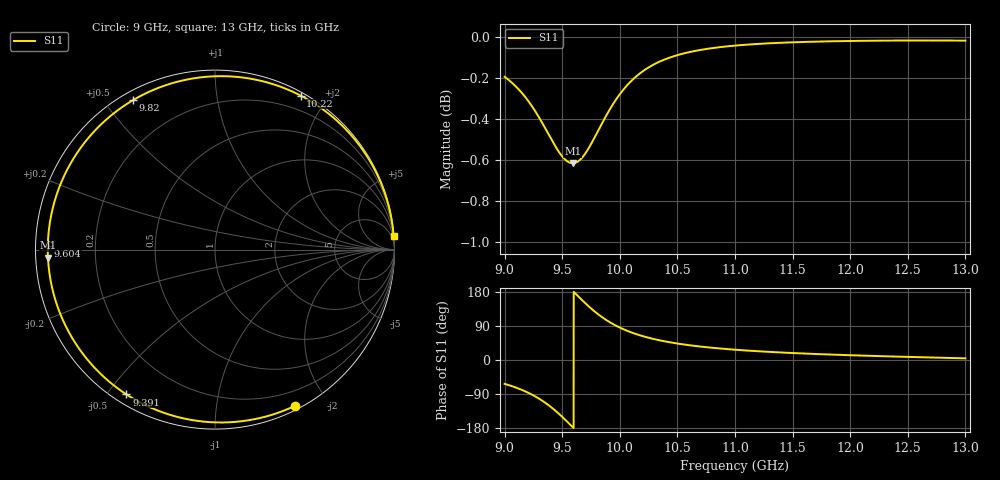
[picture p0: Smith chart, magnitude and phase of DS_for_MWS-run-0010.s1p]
! TOUCHSTONE file generated by CST DESIGN STUDIO
! Date and time: Tue Feb  4 14:13:32 2025
! Project name: C:\Work\MatlabApps\UnitCellOptimizationMatlab\CST\unitcell.cst
! Tree item: Tasks\Sweep1\SPara1\S-Parameters
! Header version: 2024
! Port assignment regex: !\s*Touchstone port\s*([0-9]+)\s*=\s*(CST MWS port|CST DES external port|CST DES block port)\s*(.+)\s* \(\"(.*)\"\)(\s*mode\s*([0-9]+))?.*
! Touchstone port assignment:
! Touchstone port 1 = CST DES external port 1 ("")
# GHz S MA R 50
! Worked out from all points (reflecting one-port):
!   4001 points, 9 GHz to 13 GHz, reference 50 ohm
!   lowest |S11| = -0.6 dB at 9.591 GHz (marker M1), VSWR 28.25, Z = 1.77 - j1.19 ohm
!   phase of S11 starts at -63 deg and turns -293 deg over the sweep
!   S11 on the Smith chart (normalised r, x): 9 GHz: 0.04, -1.63; 9.391 GHz: 0.04, -0.56; 9.604 GHz: 0.04, +0.01; 9.82 GHz: 0.03, +0.59; 10.22 GHz: 0.04, +1.70; 13 GHz: 1, +26
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9  0.9778 -63.0
9.049  0.9754 -67.5
9.119  0.9712 -75.1
9.239  0.9617 -91.6
9.32  0.9536 -106.1
9.391  0.9458 -121.4
9.445  0.9401 -134.9
9.5  0.9352 -150.0
9.547  0.9325 -163.9
9.591  0.9316 -177.3
9.604  0.9317 178.7
9.66  0.9337 161.7
9.721  0.9386 144.0
9.77  0.9439 130.9
9.82  0.9497 118.8
9.86  0.9543 110.1
9.902  0.959 101.8
10  0.9683 85.6
10.106  0.9759 72.1
10.223  0.9819 60.9
10.351  0.9863 51.6
10.5  0.9897 43.5
10.72  0.9928 34.8
11  0.995 27.2
11.5  0.9969 18.4
12  0.9976 12.6
12.5  0.9979 8.2
13  0.9978 4.4
